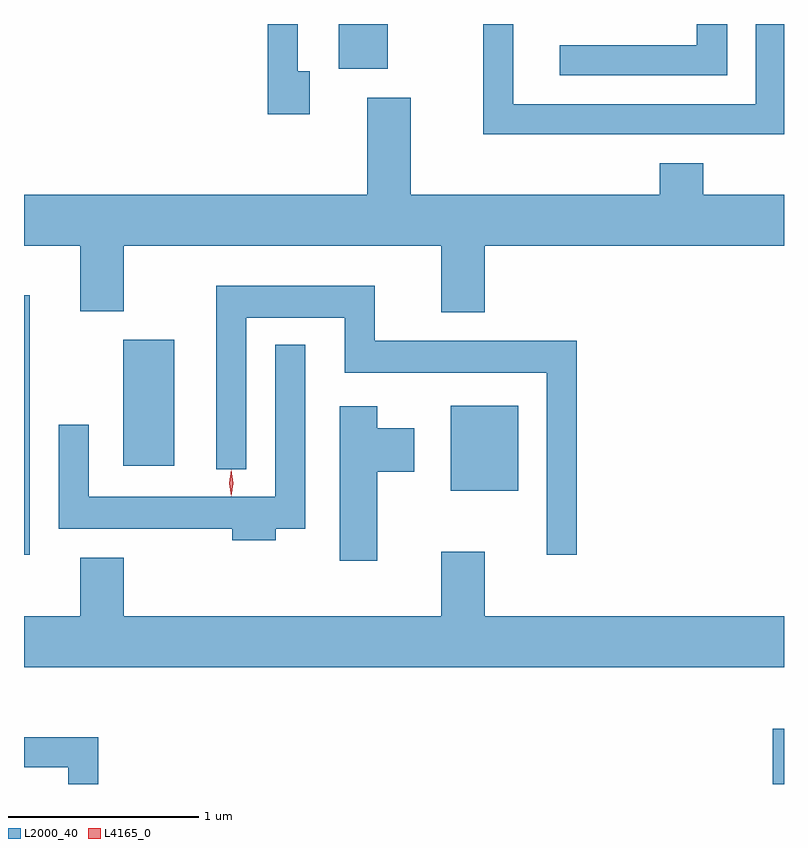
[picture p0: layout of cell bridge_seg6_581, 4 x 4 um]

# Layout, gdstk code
import gdstk
lib = gdstk.Library(unit=1e-6, precision=1e-09)
def R(c, l, rs):  # rectangles x0, y0, x1, y1
    for r in rs: c.add(gdstk.rectangle(r[:2], r[2:], *l))
def P(c, l, *ps):  # polygons
    for p in ps: c.add(gdstk.Polygon(p, *l))
L2000_40 = (2000, 40)
L4165_0 = (4165, 0)

bridge_seg6_581 = lib.new_cell('bridge_seg6_581')
R(bridge_seg6_581, L2000_40, [(543.176,1622.682,543.234,1622.973), (539.234,1623.888,539.264,1625.254), (541.481,1624.226,541.834,1624.674), (539.756,1624.356,540.024,1625.019), (540.891,1626.446,541.149,1626.682)])
P(bridge_seg6_581, L2000_40, [(542.934,1626.682),(542.776,1626.682),(542.776,1626.569),(542.053,1626.569),(542.053,1626.411),(542.934,1626.411)],
  [(540.739,1626.434),(540.674,1626.434),(540.674,1626.682),(540.516,1626.682),(540.516,1626.206),(540.739,1626.206)],
  [(543.234,1626.682),(543.086,1626.682),(543.086,1626.259),(541.809,1626.259),(541.809,1626.682),(541.651,1626.682),(541.651,1626.101),(543.234,1626.101)],
  [(541.659,1625.516),(543.234,1625.516),(543.234,1625.784),(542.809,1625.784),(542.809,1625.949),(542.581,1625.949),(542.581,1625.784),(541.269,1625.784),(541.269,1626.294),(541.041,1626.294),(541.041,1625.784),(539.234,1625.784),(539.234,1625.516),(539.531,1625.516),(539.531,1625.171),(539.759,1625.171),(539.759,1625.516),(541.431,1625.516),(541.431,1625.166),(541.659,1625.166)],
  [(542.144,1625.014),(541.079,1625.014),(541.079,1625.304),(540.246,1625.304),(540.246,1624.338),(540.404,1624.338),(540.404,1625.136),(540.921,1625.136),(540.921,1624.846),(541.986,1624.846),(541.986,1623.888),(542.144,1623.888)],
  [(540.559,1624.026),(540.714,1624.026),(540.714,1624.993),(540.556,1624.993),(540.556,1624.194),(539.574,1624.194),(539.574,1624.573),(539.416,1624.573),(539.416,1624.026),(540.331,1624.026),(540.331,1623.966),(540.559,1623.966)],
  [(541.094,1624.326),(541.289,1624.326),(541.289,1624.554),(541.094,1624.554),(541.094,1624.669),(540.896,1624.669),(540.896,1623.856),(541.094,1623.856)],
  [(543.234,1623.564),(541.659,1623.564),(541.659,1623.904),(541.431,1623.904),(541.431,1623.564),(539.759,1623.564),(539.759,1623.874),(539.531,1623.874),(539.531,1623.564),(539.234,1623.564),(539.234,1623.296),(543.234,1623.296)],
  [(539.624,1622.929),(539.234,1622.929),(539.234,1622.771),(539.466,1622.771),(539.466,1622.682),(539.624,1622.682)])
P(bridge_seg6_581, L4165_0, [(540.324,1624.197),(540.315,1624.266),(540.324,1624.336),(540.325,1624.336),(540.326,1624.336),(540.335,1624.266),(540.326,1624.197),(540.325,1624.197)],
  [(540.324,1624.199),(540.324,1624.2),(540.314,1624.266),(540.324,1624.332),(540.324,1624.333),(540.325,1624.332),(540.334,1624.266),(540.325,1624.2)])

lib.write_gds('bridge_seg6_581.gds')
